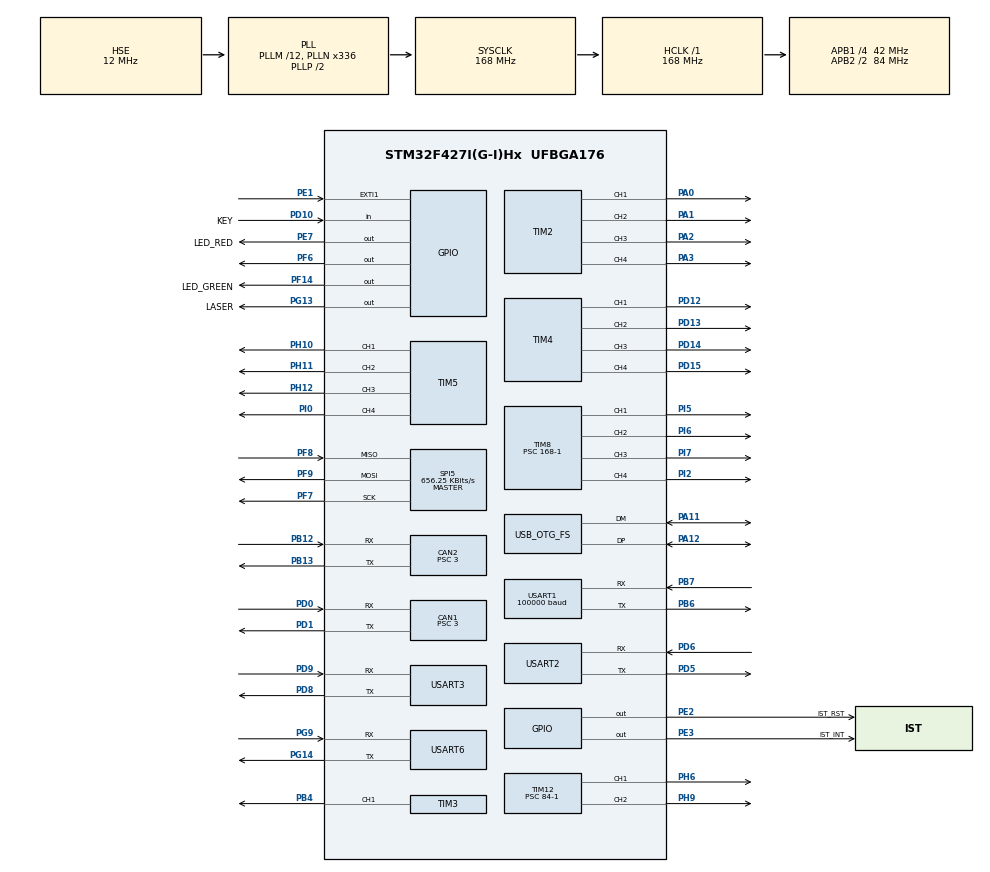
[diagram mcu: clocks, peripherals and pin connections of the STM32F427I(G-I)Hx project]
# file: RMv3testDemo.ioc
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CAN1.ABOM=DISABLE
CAN1.BS1=CAN_BS1_9TQ
CAN1.BS2=CAN_BS2_4TQ
CAN1.CalculateTimeBit=1000
CAN1.CalculateTimeQuantum=71.42857142857143
CAN1.Mode=CAN_MODE_LOOPBACK
CAN1.Prescaler=3
CAN1.SJW=CAN_SJW_1TQ
CAN1.TXFP=ENABLE
CAN2.ABOM=DISABLE
CAN2.BS1=CAN_BS1_9TQ
CAN2.BS2=CAN_BS2_4TQ
CAN2.CalculateTimeBit=1000
CAN2.CalculateTimeQuantum=71.42857142857143
CAN2.Mode=CAN_MODE_LOOPBACK
CAN2.Prescaler=3
CAN2.TXFP=ENABLE
Dma.Request0=USART1_RX
Dma.USART1_RX.0.Direction=DMA_PERIPH_TO_MEMORY
Dma.USART1_RX.0.FIFOMode=DMA_FIFOMODE_DISABLE
Dma.USART1_RX.0.Instance=DMA2_Stream2
Dma.USART1_RX.0.MemDataAlignment=DMA_MDATAALIGN_BYTE
Dma.USART1_RX.0.MemInc=DMA_MINC_ENABLE
Dma.USART1_RX.0.Mode=DMA_CIRCULAR
Dma.USART1_RX.0.PeriphDataAlignment=DMA_PDATAALIGN_BYTE
Dma.USART1_RX.0.PeriphInc=DMA_PINC_DISABLE
Dma.USART1_RX.0.Priority=DMA_PRIORITY_LOW
Mcu.Family=STM32F4
Mcu.Name=STM32F427I(G-I)Hx
Mcu.Package=UFBGA176
NVIC.CAN1_RX0_IRQn=true\:1\:1\:true\:false\:true
NVIC.CAN1_TX_IRQn=true\:1\:1\:true\:false\:true
NVIC.CAN2_RX0_IRQn=true\:1\:1\:true\:false\:true
NVIC.CAN2_TX_IRQn=true\:1\:1\:true\:false\:true
NVIC.DMA2_Stream2_IRQn=true\:0\:0\:false\:false\:true
NVIC.EXTI1_IRQn=true\:0\:2\:false\:false\:true
NVIC.OTG_FS_IRQn=true\:1\:2\:true\:false\:true
NVIC.PriorityGroup=NVIC_PRIORITYGROUP_2
NVIC.TIM6_DAC_IRQn=true\:0\:1\:false\:false\:true
NVIC.USART1_IRQn=true\:0\:2\:true\:false\:true
NVIC.USART2_IRQn=true\:1\:0\:true\:false\:true
NVIC.USART3_IRQn=true\:1\:0\:true\:false\:true
NVIC.USART6_IRQn=true\:1\:0\:true\:false\:true
PA0/WKUP.Signal=S_TIM2_CH1_ETR
PA1.Signal=S_TIM2_CH2
PA11.Mode=Device_Only
PA11.Signal=USB_OTG_FS_DM
PA12.GPIO_PuPd=GPIO_PULLUP
PA12.Mode=Device_Only
PA12.Signal=USB_OTG_FS_DP
PA13.Mode=Serial_Wire
PA13.Signal=SYS_JTMS-SWDIO
PA14.Mode=Serial_Wire
PA14.Signal=SYS_JTCK-SWCLK
PA2.Signal=S_TIM2_CH3
PA3.Signal=S_TIM2_CH4
PB12.Mode=Slave
PB12.Signal=CAN2_RX
PB13.Mode=Slave
PB13.Signal=CAN2_TX
PB4.Signal=S_TIM3_CH1
PB6.Mode=Multiprocessor_communication
PB6.Signal=USART1_TX
PB7.Mode=Multiprocessor_communication
PB7.Signal=USART1_RX
PD0.Mode=Master
PD0.Signal=CAN1_RX
PD1.Mode=Master
PD1.Signal=CAN1_TX
PD10.GPIO_Label=KEY
PD10.Signal=GPIO_Input
PD12.Signal=S_TIM4_CH1
PD13.Signal=S_TIM4_CH2
PD14.Signal=S_TIM4_CH3
PD15.Signal=S_TIM4_CH4
PD5.Mode=Multiprocessor_communication
PD5.Signal=USART2_TX
PD6.Mode=Multiprocessor_communication
PD6.Signal=USART2_RX
PD8.Mode=Multiprocessor_communication
PD8.Signal=USART3_TX
PD9.Mode=Multiprocessor_communication
PD9.Signal=USART3_RX
PE1.Signal=GPXTI1
PE2.GPIO_Label=IST_RST
PE2.GPIO_Speed=GPIO_SPEED_FREQ_VERY_HIGH
PE2.Signal=GPIO_Output
PE3.GPIO_Label=IST_INT
PE3.GPIO_Speed=GPIO_SPEED_FREQ_VERY_HIGH
PE3.Signal=GPIO_Output
PE7.GPIO_Label=LED_RED
PE7.Signal=GPIO_Output
PF14.GPIO_Label=LED_GREEN
PF14.Signal=GPIO_Output
PF6.Signal=GPIO_Output
PF7.Mode=Full_Duplex_Master
PF7.Signal=SPI5_SCK
PF8.Mode=Full_Duplex_Master
PF8.Signal=SPI5_MISO
PF9.Mode=Full_Duplex_Master
PF9.Signal=SPI5_MOSI
PG13.GPIO_Label=LASER
PG13.Signal=GPIO_Output
PG14.Mode=Multiprocessor_communication
PG14.Signal=USART6_TX
PG9.Mode=Multiprocessor_communication
PG9.Signal=USART6_RX
PH0/OSC_IN.Mode=HSE-External-Oscillator
PH0/OSC_IN.Signal=RCC_OSC_IN
PH1/OSC_OUT.Mode=HSE-External-Oscillator
PH1/OSC_OUT.Signal=RCC_OSC_OUT
PH10.Signal=S_TIM5_CH1
PH11.Signal=S_TIM5_CH2
PH12.Signal=S_TIM5_CH3
PH6.Signal=S_TIM12_CH1
PH9.Signal=S_TIM12_CH2
PI0.Signal=S_TIM5_CH4
PI2.Signal=S_TIM8_CH4
PI5.Signal=S_TIM8_CH1
PI6.Signal=S_TIM8_CH2
PI7.Signal=S_TIM8_CH3
ProjectManager.HeapSize=0x1000
ProjectManager.StackSize=0x400
ProjectManager.TargetToolchain=MDK-ARM V5
RCC.48MHZClocksFreq_Value=48000000
RCC.AHBFreq_Value=168000000
RCC.APB1CLKDivider=RCC_HCLK_DIV4
RCC.APB1Freq_Value=42000000
RCC.APB1TimFreq_Value=84000000
RCC.APB2CLKDivider=RCC_HCLK_DIV2
RCC.APB2Freq_Value=84000000
RCC.APB2TimFreq_Value=168000000
RCC.CortexFreq_Value=168000000
RCC.HCLKFreq_Value=168000000
RCC.HSE_VALUE=12000000
RCC.HSI_VALUE=16000000
RCC.LSE_VALUE=32768
RCC.PLLM=12
RCC.PLLN=336
RCC.PLLQ=7
RCC.SYSCLKFreq_VALUE=168000000
RCC.SYSCLKSource=RCC_SYSCLKSOURCE_PLLCLK
RCC.VCOOutputFreq_Value=336000000
SH.S_TIM12_CH1.0=TIM12_CH1,PWM Generation1 CH1
SH.S_TIM12_CH2.0=TIM12_CH2,PWM Generation2 CH2
SH.S_TIM2_CH1_ETR.0=TIM2_CH1,PWM Generation1 CH1
SH.S_TIM2_CH2.0=TIM2_CH2,PWM Generation2 CH2
SH.S_TIM2_CH3.0=TIM2_CH3,PWM Generation3 CH3
SH.S_TIM2_CH4.0=TIM2_CH4,PWM Generation4 CH4
SH.S_TIM3_CH1.0=TIM3_CH1,PWM Generation1 CH1
SH.S_TIM4_CH1.0=TIM4_CH1,PWM Generation1 CH1
SH.S_TIM4_CH2.0=TIM4_CH2,PWM Generation2 CH2
SH.S_TIM4_CH3.0=TIM4_CH3,PWM Generation3 CH3
SH.S_TIM4_CH4.0=TIM4_CH4,PWM Generation4 CH4
SH.S_TIM5_CH1.0=TIM5_CH1,PWM Generation1 CH1
SH.S_TIM5_CH2.0=TIM5_CH2,PWM Generation2 CH2
SH.S_TIM5_CH3.0=TIM5_CH3,PWM Generation3 CH3
SH.S_TIM5_CH4.0=TIM5_CH4,PWM Generation4 CH4
SH.S_TIM8_CH1.0=TIM8_CH1,PWM Generation1 CH1
SH.S_TIM8_CH2.0=TIM8_CH2,PWM Generation2 CH2
SH.S_TIM8_CH3.0=TIM8_CH3,PWM Generation3 CH3
SH.S_TIM8_CH4.0=TIM8_CH4,PWM Generation4 CH4
SPI5.BaudRatePrescaler=SPI_BAUDRATEPRESCALER_128
SPI5.CalculateBaudRate=656.25 KBits/s
SPI5.Mode=SPI_MODE_MASTER
TIM12.Channel-PWM\ Generation2\ CH2=TIM_CHANNEL_2
TIM12.Period=2500-1
TIM12.Prescaler=84-1
TIM12.Pulse-PWM\ Generation1\ CH1=1000
TIM2.Channel-PWM\ Generation2\ CH2=TIM_CHANNEL_2
TIM2.Channel-PWM\ Generation3\ CH3=TIM_CHANNEL_3
TIM2.Channel-PWM\ Generation4\ CH4=TIM_CHANNEL_4
TIM3.Prescaler=84-1
TIM4.Channel-PWM\ Generation2\ CH2=TIM_CHANNEL_2
TIM4.Channel-PWM\ Generation3\ CH3=TIM_CHANNEL_3
TIM4.Channel-PWM\ Generation4\ CH4=TIM_CHANNEL_4
TIM5.Channel-PWM\ Generation2\ CH2=TIM_CHANNEL_2
TIM5.Channel-PWM\ Generation3\ CH3=TIM_CHANNEL_3
TIM5.Channel-PWM\ Generation4\ CH4=TIM_CHANNEL_4
TIM6.Period=1000
TIM6.Prescaler=84-1
TIM8.Channel-PWM\ Generation2\ CH2=TIM_CHANNEL_2
TIM8.Channel-PWM\ Generation3\ CH3=TIM_CHANNEL_3
TIM8.Channel-PWM\ Generation4\ CH4=TIM_CHANNEL_4
TIM8.Prescaler=168-1
USART1.BaudRate=100000
USART1.Mode=UART_MODE_RX
USART1.Parity=UART_PARITY_EVEN
USB_DEVICE.CLASS_NAME-CDC_FS=CDC
USB_DEVICE.CLASS_NAME_FS=CDC
USB_DEVICE.USBD_CDC_INTERVAL-CDC_FS=5
USB_DEVICE.USBD_HandleTypeDef-CDC_FS=hUsbDeviceFS
USB_DEVICE.USBD_MAX_STR_DESC_SIZ-CDC_FS=128
USB_DEVICE.VirtualMode-CDC_FS=Cdc
USB_DEVICE.VirtualModeFS=Cdc_FS
USB_OTG_FS.VirtualMode=Device_Only
USB_OTG_FS.vbus_sensing_enable=DISABLE
VP_TIM12_VS_ClockSourceINT.Mode=Internal
VP_TIM2_VS_ClockSourceINT.Mode=Internal
VP_TIM3_VS_ClockSourceINT.Mode=Internal
VP_TIM4_VS_ClockSourceINT.Mode=Internal
VP_TIM5_VS_ClockSourceINT.Mode=Internal
VP_TIM6_VS_ClockSourceINT.Mode=Enable_Timer
VP_TIM8_VS_ClockSourceINT.Mode=Internal
VP_USB_DEVICE_VS_USB_DEVICE_CDC_FS.Mode=CDC_FS
board=RMv3testDemo

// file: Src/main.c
/**
  ******************************************************************************
  * File Name          : main.c
  * Description        : Main program body
  ******************************************************************************
  *
  * Copyright (c) 2016 STMicroelectronics International N.V.
  * All rights reserved.
  *
  * Redistribution and use in source and binary forms, with or without
  * modification, are permitted, provided that the following conditions are met:
  *
  * 1. Redistribution of source code must retain the above copyright notice,
  *    this list of conditions and the following disclaimer.
  * 2. Redistributions in binary form must reproduce the above copyright notice,
  *    this list of conditions and the following disclaimer in the documentation
  *    and/or other materials provided with the distribution.
  * 3. Neither the name of STMicroelectronics nor the names of other
  *    contributors to this software may be used to endorse or promote products
  *    derived from this software without specific written permission.
  * 4. This software, including modifications and/or derivative works of this
  *    software, must execute solely and exclusively on microcontroller or
  *    microprocessor devices manufactured by or for STMicroelectronics.
  * 5. Redistribution and use of this software other than as permitted under
  *    this license is void and will automatically terminate your rights under
  *    this license.
  *
  * THIS SOFTWARE IS PROVIDED BY STMICROELECTRONICS AND CONTRIBUTORS "AS IS"
  * AND ANY EXPRESS, IMPLIED OR STATUTORY WARRANTIES, INCLUDING, BUT NOT
  * LIMITED TO, THE IMPLIED WARRANTIES OF MERCHANTABILITY, FITNESS FOR A
  * PARTICULAR PURPOSE AND NON-INFRINGEMENT OF THIRD PARTY INTELLECTUAL PROPERTY
  * RIGHTS ARE DISCLAIMED TO THE FULLEST EXTENT PERMITTED BY LAW. IN NO EVENT
  * SHALL STMICROELECTRONICS OR CONTRIBUTORS BE LIABLE FOR ANY DIRECT, INDIRECT,
  * INCIDENTAL, SPECIAL, EXEMPLARY, OR CONSEQUENTIAL DAMAGES (INCLUDING, BUT NOT
  * LIMITED TO, PROCUREMENT OF SUBSTITUTE GOODS OR SERVICES; LOSS OF USE, DATA,
  * OR PROFITS; OR BUSINESS INTERRUPTION) HOWEVER CAUSED AND ON ANY THEORY OF
  * LIABILITY, WHETHER IN CONTRACT, STRICT LIABILITY, OR TORT (INCLUDING
  * NEGLIGENCE OR OTHERWISE) ARISING IN ANY WAY OUT OF THE USE OF THIS SOFTWARE,
  * EVEN IF ADVISED OF THE POSSIBILITY OF SUCH DAMAGE.
  *
  ******************************************************************************
  */
#include "main.h"
#include "stm32f4xx_hal.h"
#include "can.h"
#include "dma.h"
#include "spi.h"
#include "tim.h"
#include "usart.h"
#include "usb_device.h"
#include "gpio.h"

/* USER CODE BEGIN Includes */
#include "test_imu.h"
#include "test_app.h"
#include "test_can.h"
#include "test_uart.h"

/* USER CODE END Includes */

/* USER CODE BEGIN PV */
/* Private variables ---------------------------------------------------------*/

/* USER CODE END PV */

void SystemClock_Config(void);
void Error_Handler(void);

/* USER CODE BEGIN PFP */
/* Private function prototypes -----------------------------------------------*/

/* USER CODE END PFP */

int main(void)
{

  /* MCU Configuration----------------------------------------------------------*/

  /* Reset of all peripherals, Initializes the Flash interface and the Systick. */
  HAL_Init();

  /* Configure the system clock */
  SystemClock_Config();

  /* Initialize all configured peripherals */
  MX_GPIO_Init();
  MX_DMA_Init();
  MX_CAN1_Init();
  MX_CAN2_Init();
  MX_SPI5_Init();
  MX_TIM2_Init();
  MX_TIM4_Init();
  MX_TIM5_Init();
  MX_TIM6_Init();
  MX_TIM8_Init();
  MX_TIM12_Init();
  MX_USART1_UART_Init();
  MX_USART2_UART_Init();
  MX_USART3_UART_Init();
  MX_USART6_UART_Init();
  MX_USB_DEVICE_Init();
  MX_TIM3_Init();

  /* USER CODE BEGIN 2 */
  MPU6500_Init();

  HAL_TIM_Base_Start_IT(&htim6);

  HAL_TIM_PWM_Start(&htim3, TIM_CHANNEL_1);

  CanFilter_Init(&hcan1);
  CanFilter_Init(&hcan2);
  HAL_CAN_Receive_IT(&hcan1, CAN_FIFO0);
  HAL_CAN_Receive_IT(&hcan2, CAN_FIFO0);

  HAL_UART_Receive_IT(&huart3, uart3_rx_buff, 1);
  HAL_UART_Receive_IT(&huart6, uart6_rx_buff, 1);

  if(MPU_id != 0)sTestResult.imuTest = 0x01;
  /* USER CODE END 2 */

  /* Infinite loop */
  while (1)
  {

  /* USER CODE BEGIN 3 */
    IMU_Get_Data();
    HAL_Delay(10);
  }
  /* USER CODE END 3 */

}

/** System Clock Configuration
*/
void SystemClock_Config(void)
{

  RCC_OscInitTypeDef RCC_OscInitStruct;
  RCC_ClkInitTypeDef RCC_ClkInitStruct;

    /**Configure the main internal regulator output voltage
    */
  __HAL_RCC_PWR_CLK_ENABLE();

  __HAL_PWR_VOLTAGESCALING_CONFIG(PWR_REGULATOR_VOLTAGE_SCALE1);

    /**Initializes the CPU, AHB and APB busses clocks
    */
  RCC_OscInitStruct.OscillatorType = RCC_OSCILLATORTYPE_HSE;
  RCC_OscInitStruct.HSEState = RCC_HSE_ON;
  RCC_OscInitStruct.PLL.PLLState = RCC_PLL_ON;
  RCC_OscInitStruct.PLL.PLLSource = RCC_PLLSOURCE_HSE;
  RCC_OscInitStruct.PLL.PLLM = 12;
  RCC_OscInitStruct.PLL.PLLN = 336;
  RCC_OscInitStruct.PLL.PLLP = RCC_PLLP_DIV2;
  RCC_OscInitStruct.PLL.PLLQ = 7;
  if (HAL_RCC_OscConfig(&RCC_OscInitStruct) != HAL_OK)
  {
    Error_Handler();
  }

    /**Initializes the CPU, AHB and APB busses clocks
    */
  RCC_ClkInitStruct.ClockType = RCC_CLOCKTYPE_HCLK|RCC_CLOCKTYPE_SYSCLK
                              |RCC_CLOCKTYPE_PCLK1|RCC_CLOCKTYPE_PCLK2;
  RCC_ClkInitStruct.SYSCLKSource = RCC_SYSCLKSOURCE_PLLCLK;
  RCC_ClkInitStruct.AHBCLKDivider = RCC_SYSCLK_DIV1;
  RCC_ClkInitStruct.APB1CLKDivider = RCC_HCLK_DIV4;
  RCC_ClkInitStruct.APB2CLKDivider = RCC_HCLK_DIV2;

  if (HAL_RCC_ClockConfig(&RCC_ClkInitStruct, FLASH_LATENCY_5) != HAL_OK)
  {
    Error_Handler();
  }

    /**Configure the Systick interrupt time
    */
  HAL_SYSTICK_Config(HAL_RCC_GetHCLKFreq()/1000);

    /**Configure the Systick
    */
  HAL_SYSTICK_CLKSourceConfig(SYSTICK_CLKSOURCE_HCLK);

  /* SysTick_IRQn interrupt configuration */
  HAL_NVIC_SetPriority(SysTick_IRQn, 0, 0);
}

void Error_Handler(void)
{
  while(1)
  {
  }
}

/************************ (C) COPYRIGHT STMicroelectronics *****END OF FILE****/
